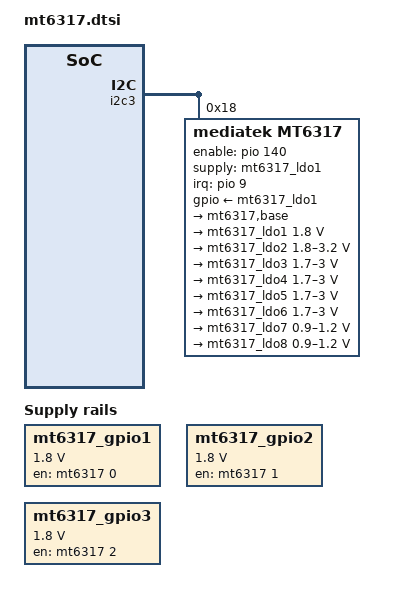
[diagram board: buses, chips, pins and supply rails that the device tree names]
/*
 * Copyright (c) 2017 MediaTek Inc.
 *
 * This program is free software; you can redistribute it and/or modify
 * it under the terms of the GNU General Public License version 2 as
 * published by the Free Software Foundation.
 *
 * This program is distributed in the hope that it will be useful,
 * but WITHOUT ANY WARRANTY; without even the implied warranty of
 * MERCHANTABILITY or FITNESS FOR A PARTICULAR PURPOSE.  See the
 * GNU General Public License for more details.
 */

&odm {
	mt6317_eint:mt6317_eint {
	};

	mt6317_gpio1: mt6317-gpio1 {
		compatible = "regulator-fixed";
		regulator-name = "mt6317-gpio1";
		regulator-min-microvolt = <1800000>;
		regulator-max-microvolt = <1800000>;
		enable-active-high;
		gpio = <&mt6317 0 0x0>;
	};

	mt6317_gpio2: mt6317-gpio2 {
		compatible = "regulator-fixed";
		regulator-name = "mt6317-gpio2";
		regulator-min-microvolt = <1800000>;
		regulator-max-microvolt = <1800000>;
		enable-active-high;
		gpio = <&mt6317 1 0x0>;
	};

	mt6317_gpio3: mt6317-gpio3 {
		compatible = "regulator-fixed";
		regulator-name = "mt6317-gpio3";
		regulator-min-microvolt = <1800000>;
		regulator-max-microvolt = <1800000>;
		enable-active-high;
		gpio = <&mt6317 2 0x0>;
	};
};



&i2c3 {
	mt6317: mt6317@18 {
		status = "ok";
		compatible = "mediatek,mt6317";
		reg = <0x18>;
		wakeup-source;
		interrupts-extended = <&pio 9 0x0>;
		enable-gpio = <&pio 140 0x0>;
		gpio-supply = <&mt6317_ldo1>;
		gpio-controller;
		#gpio-cells = <2>;
		regulator_nb = "mt6317-ldo1", "mt6317-ldo2",
				"mt6317-ldo3", "mt6317-ldo4",
				"mt6317-ldo5", "mt6317-ldo6",
				"mt6317-ldo7", "mt6317-ldo8";
		regulators {
			BASE {
				regulator-name = "mt6317,base";
				oc_shutdown_all = <0>;
				pgb_shutdown_all = <0>;
			};
			mt6317_ldo1: LDO1 {
				regulator-name = "mt6317-ldo1";
				regulator-min-microvolt = <1800000>;
				regulator-max-microvolt = <1800000>;
				regulator-active-discharge;
				oc_ptsel = <1>;
				pgb_ptsel = <1>;
				soft_start_time_sel = <1>;
			};
			mt6317_ldo2: LDO2 {
				regulator-name = "mt6317-ldo2";
				regulator-min-microvolt = <1800000>;
				regulator-max-microvolt = <3200000>;
				regulator-active-discharge;
				oc_ptsel = <1>;
				pgb_ptsel = <1>;
				soft_start_time_sel = <1>;
			};
			mt6317_ldo3: LDO3 {
				regulator-name = "mt6317-ldo3";
				regulator-min-microvolt = <1700000>;
				regulator-max-microvolt = <3000000>;
				regulator-active-discharge;
				oc_ptsel = <1>;
				pgb_ptsel = <1>;
				soft_start_time_sel = <1>;
			};
			mt6317_ldo4: LDO4 {
				regulator-name = "mt6317-ldo4";
				regulator-min-microvolt = <1700000>;
				regulator-max-microvolt = <3000000>;
				regulator-active-discharge;
				oc_ptsel = <1>;
				pgb_ptsel = <1>;
				soft_start_time_sel = <1>;
			};
			mt6317_ldo5: LDO5 {
				regulator-name = "mt6317-ldo5";
				regulator-min-microvolt = <1700000>;
				regulator-max-microvolt = <3000000>;
				regulator-active-discharge;
				oc_ptsel = <1>;
				pgb_ptsel = <1>;
				soft_start_time_sel = <1>;
			};
			mt6317_ldo6: LDO6 {
				regulator-name = "mt6317-ldo6";
				regulator-min-microvolt = <1700000>;
				regulator-max-microvolt = <3000000>;
				regulator-active-discharge;
				oc_ptsel = <1>;
				pgb_ptsel = <1>;
				soft_start_time_sel = <1>;
			};
			mt6317_ldo7: LDO7 {
				regulator-name = "mt6317-ldo7";
				regulator-min-microvolt = <900000>;
				regulator-max-microvolt = <1200000>;
				regulator-active-discharge;
				oc_ptsel = <1>;
				pgb_ptsel = <1>;
				soft_start_time_sel = <1>;
			};
			mt6317_ldo8: LDO8 {
				regulator-name = "mt6317-ldo8";
				regulator-min-microvolt = <900000>;
				regulator-max-microvolt = <1200000>;
				regulator-active-discharge;
				oc_ptsel = <1>;
				pgb_ptsel = <1>;
				soft_start_time_sel = <1>;
			};
		};

	};
};
